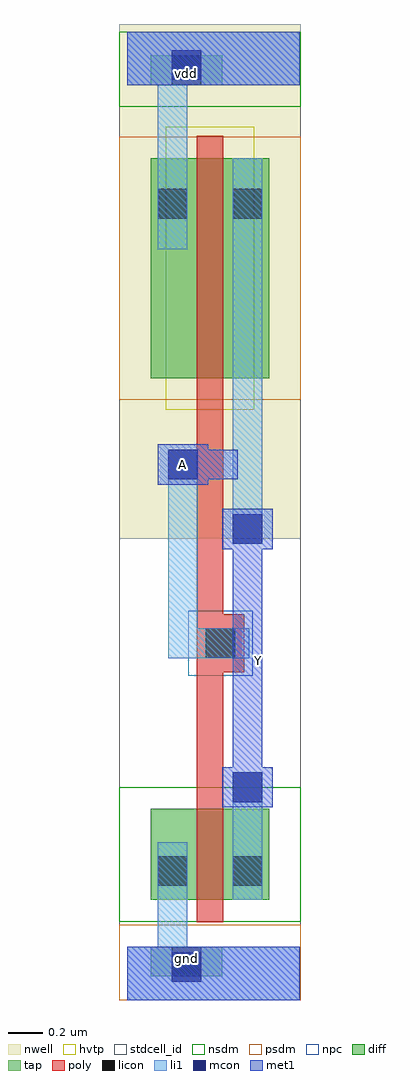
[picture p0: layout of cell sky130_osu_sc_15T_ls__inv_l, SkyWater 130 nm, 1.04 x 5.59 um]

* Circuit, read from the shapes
.subckt sky130_osu_sc_15T_ls__inv_l A Y gnd vdd
XM1 Y A gnd gnd sky130_fd_pr__nfet_01v8 w=0.52 l=0.15
XM2 Y A vdd vdd sky130_fd_pr__pfet_01v8_hvt w=1.26 l=0.15
.ends

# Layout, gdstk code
import gdstk
lib = gdstk.Library(unit=1e-6, precision=1e-09)
def R(c, l, rs):  # rectangles x0, y0, x1, y1
    for r in rs: c.add(gdstk.rectangle(r[:2], r[2:], *l))
nwell = (64, 20)
diff = (65, 20)
tap = (65, 44)
poly = (66, 20)
licon = (66, 44)
li1 = (67, 20)
mcon = (67, 44)
met1 = (68, 20)
hvtp = (78, 44)
stdcell_id = (81, 4)
nsdm = (93, 44)
psdm = (94, 20)
npc = (95, 20)

sky130_osu_sc_15t_ls__in = lib.new_cell('sky130_osu_sc_15T_ls__inv_l')
R(sky130_osu_sc_15t_ls__in, nwell, [(-0.045,2.645,0.995,5.595)])
R(sky130_osu_sc_15t_ls__in, diff, [(0.135,0.575,0.815,1.095), (0.135,3.565,0.815,4.825)])
R(sky130_osu_sc_15t_ls__in, tap, [(0.135,0.135,0.545,0.305), (0.135,5.245,0.545,5.415)])
R(sky130_osu_sc_15t_ls__in, poly, [(0.4,0.445,0.55,1.88), (0.4,1.88,0.67,2.21), (0.4,2.21,0.55,4.955)])
R(sky130_osu_sc_15t_ls__in, licon, [(0.255,0.135,0.425,0.305), (0.175,0.655,0.345,0.825), (0.605,0.655,0.775,0.825), (0.45,1.96,0.62,2.13), (0.175,4.48,0.345,4.65), (0.605,4.48,0.775,4.65), (0.255,5.245,0.425,5.415)])
R(sky130_osu_sc_15t_ls__in, li1, [(0,0,0.99,0.305), (0.175,0.305,0.345,0.905), (0.605,0.575,0.775,1.305), (0.235,1.96,0.7,2.13), (0.235,2.13,0.405,3.155), (0.605,2.615,0.775,4.825), (0.175,4.305,0.345,5.245), (0,5.245,0.99,5.55)])
R(sky130_osu_sc_15t_ls__in, mcon, [(0.255,0.105,0.425,0.275), (0.605,1.135,0.775,1.305), (0.605,2.615,0.775,2.785), (0.235,2.985,0.405,3.155), (0.255,5.275,0.425,5.445)])
R(sky130_osu_sc_15t_ls__in, met1, [(0,0,0.99,0.305), (0.545,1.105,0.835,1.335), (0.605,1.335,0.775,2.585), (0.545,2.585,0.835,2.815), (0.175,2.955,0.465,2.985), (0.175,2.985,0.635,3.155), (0.175,3.155,0.465,3.185), (0,5.245,0.99,5.55)])
R(sky130_osu_sc_15t_ls__in, hvtp, [(0.22,3.385,0.73,5.005)])
R(sky130_osu_sc_15t_ls__in, stdcell_id, [(-0.045,0,0.995,5.55)])
R(sky130_osu_sc_15t_ls__in, nsdm, [(-0.045,0.45,0.995,1.22), (-0.045,5.12,0.995,5.55)])
R(sky130_osu_sc_15t_ls__in, psdm, [(-0.045,0,0.995,0.43), (-0.045,3.44,0.995,4.95)])
R(sky130_osu_sc_15t_ls__in, npc, [(0.35,1.86,0.72,2.23)])
sky130_osu_sc_15t_ls__in.add(gdstk.Label('gnd', (0.34,0.24), layer=68, texttype=16))
sky130_osu_sc_15t_ls__in.add(gdstk.Label('vdd', (0.34,5.31), layer=68, texttype=16))
sky130_osu_sc_15t_ls__in.add(gdstk.Label('A', (0.32,3.07), layer=68, texttype=5))
sky130_osu_sc_15t_ls__in.add(gdstk.Label('Y', (0.755,1.945), layer=68, texttype=5))

lib.write_gds('sky130_osu_sc_15T_ls__inv_l.gds')
